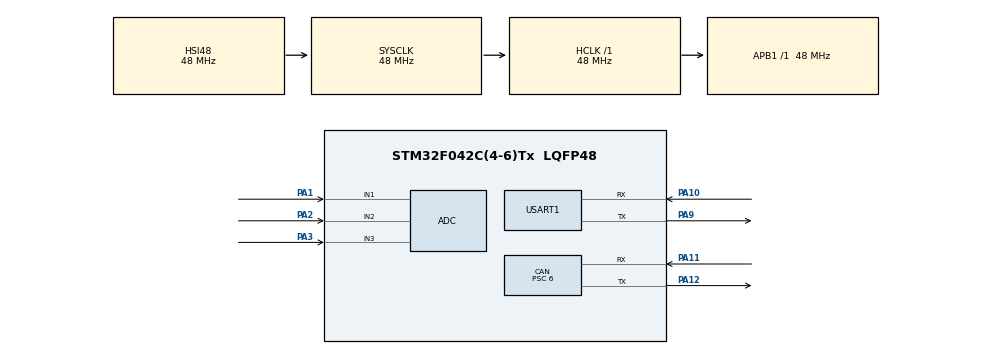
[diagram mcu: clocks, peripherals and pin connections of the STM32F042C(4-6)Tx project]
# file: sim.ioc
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ADC.ContinuousConvMode=ENABLE
ADC.DMAContinuousRequests=DISABLE
CAN.BS1=CAN_BS1_13TQ
CAN.BS2=CAN_BS2_2TQ
CAN.CalculateBaudRate=500000
CAN.CalculateTimeBit=2000.00
CAN.CalculateTimeQuantum=125.0
CAN.NART=DISABLE
CAN.Prescaler=6
Mcu.Family=STM32F0
Mcu.Name=STM32F042C(4-6)Tx
Mcu.Package=LQFP48
PA1.Mode=IN1
PA1.Signal=ADC_IN1
PA10.Mode=Asynchronous
PA10.Signal=USART1_RX
PA11.Mode=CAN_Activate
PA11.Signal=CAN_RX
PA12.Mode=CAN_Activate
PA12.Signal=CAN_TX
PA2.Mode=IN2
PA2.Signal=ADC_IN2
PA3.Mode=IN3
PA3.Signal=ADC_IN3
PA9.Mode=Asynchronous
PA9.Signal=USART1_TX
ProjectManager.HeapSize=0x200
ProjectManager.StackSize=0x400
ProjectManager.TargetToolchain=STM32CubeIDE
RCC.AHBFreq_Value=48000000
RCC.APB1Freq_Value=48000000
RCC.APB1TimFreq_Value=48000000
RCC.HCLKFreq_Value=48000000
RCC.SYSCLKFreq_VALUE=48000000
RCC.SYSCLKSource=RCC_SYSCLKSOURCE_HSI48
USART1.VirtualMode-Asynchronous=VM_ASYNC
board=custom

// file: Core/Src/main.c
/* USER CODE BEGIN Header */
/**
  ******************************************************************************
  * @file           : main.c
  * @brief          : Main program body
  ******************************************************************************
  * @attention
  *
  * <h2><center>&copy; Copyright (c) 2021 STMicroelectronics.
  * All rights reserved.</center></h2>
  *
  * This software component is licensed by ST under BSD 3-Clause license,
  * the "License"; You may not use this file except in compliance with the
  * License. You may obtain a copy of the License at:
  *                        opensource.org/licenses/BSD-3-Clause
  *
  ******************************************************************************
  */
/* USER CODE END Header */
#include "main.h"
#include "adc.h"
#include "can.h"
#include "usart.h"
#include "gpio.h"

/* USER CODE BEGIN Includes */
#include <string.h>
#include <stdio.h>
#include <stdbool.h>
#include <math.h>
/* USER CODE END Includes */

void SystemClock_Config(void);

/* USER CODE BEGIN 0 */
#define Suspension_ADC ADC_CHANNEL_1
#define GearBox_ADC ADC_CHANNEL_2
<<<<<<< HEAD
#define Radiator_ADC  ADC_CHANNEL_3
=======
#define Radiator_ADC ADC_CHANNEL_3
>>>>>>> samir-dev
#define TEM30C ((uint16_t*) ((uint32_t) 0x1FFFF7B8))
#define TEMP110C ((uint16_t*) ((uint32_t) 0x1FFFF7C2))

void config_ext_channel_ADC(uint16_t channel, bool val)
{
  ADC_ChannelConfTypeDef sConfig;
  sConfig.Channel = channel;
  sConfig.SamplingTime = ADC_SAMPLETIME_71CYCLES_5;

  if(true == val)
  {
    sConfig.Rank = ADC_RANK_CHANNEL_NUMBER;
  }
  else
  {
    sConfig.Rank = ADC_RANK_NONE;
  }

  HAL_ADC_ConfigChannel(&hadc, &sConfig);
}

uint16_t r_single_ext_channel_ADC(uint16_t channel)
{
  uint16_t digital_result;
  config_ext_channel_ADC(channel, true);
  HAL_ADCEx_Calibration_Start(&hadc);

  HAL_ADC_Start(&hadc);
  HAL_ADC_PollForConversion(&hadc, 1000);
  digital_result = HAL_ADC_GetValue(&hadc);
  HAL_ADC_Stop(&hadc);

  config_ext_channel_ADC(channel, false);

  return digital_result;
}

uint16_t GET_Suspension(){
	uint16_t suspension_raw = r_single_ext_channel_ADC(Suspension_ADC);
	return suspension_raw;
}

uint16_t GET_Gearbox(){
	uint16_t Gearbox_raw = r_single_ext_channel_ADC(GearBox_ADC);
	return Gearbox_raw;
}

float temprature(uint32_t ts_data){
	float temp;
	float slope = ((110.0 - 30.0)/((*TEMP110C) - (*TEM30C)));
	//temp = ((3.3/3.3) * ts_data) / 1000;
	temp = (slope * (ts_data - (*TEM30C))) + 30;
	return temp;
}

void CAN1_Tx(void)
{
	char msg[50];

//	{
//		Error_handler();
//	}

	sprintf(msg, "Message Transmitted\r\n");
	HAL_UART_Transmit(&huart1, (uint8_t*)msg, strlen(msg), HAL_MAX_DELAY);

}

void Configure_CAN(CAN_HandleTypeDef *canHandle) {
	CAN_FilterTypeDef sFilterConfig;

	// only want to accept messages from the AMS

	/* Configure the CAN Filter */
	sFilterConfig.FilterBank = 0;
	sFilterConfig.FilterMode = CAN_FILTERMODE_IDMASK;
	sFilterConfig.FilterScale = CAN_FILTERSCALE_32BIT;

	// what bits of the CAN ID do we care about
//	sFilterConfig.FilterMaskIdHigh = (CAN_MASK_SRC_ID & 0xFFFF) >> (16);
//	sFilterConfig.FilterMaskIdLow = (CAN_MASK_SRC_ID & 0xFFFF);
//
//	// what values do we want
//	sFilterConfig.FilterIdHigh = (CAN_SRC_ID_AMS & 0xFFFF) >> (16);
//	sFilterConfig.FilterIdLow = (CAN_SRC_ID_AMS & 0xFFFF);

	sFilterConfig.FilterFIFOAssignment = CAN_RX_FIFO0;
	sFilterConfig.FilterActivation = ENABLE;
	sFilterConfig.SlaveStartFilterBank = 14;

	// add filter for incoming messages
	if (HAL_CAN_ConfigFilter(&hcan, &sFilterConfig) != HAL_OK) {
		Error_Handler();
	}

	// start peripheral
	if (HAL_CAN_Start(&hcan) != HAL_OK) {
		Error_Handler();
	}

	// activate rx notification
	if (HAL_CAN_ActivateNotification(&hcan, CAN_IT_RX_FIFO0_MSG_PENDING) != HAL_OK) {
		Error_Handler();
	}
}
/* USER CODE END 0 */

int main(void)
{

  /* MCU Configuration--------------------------------------------------------*/

  /* Reset of all peripherals, Initializes the Flash interface and the Systick. */
  HAL_Init();

  /* Configure the system clock */
  SystemClock_Config();

  /* Initialize all configured peripherals */
  MX_GPIO_Init();
  MX_USART1_UART_Init();
  MX_ADC_Init();
  MX_CAN_Init();

  /* Infinite loop */
  /* USER CODE BEGIN WHILE */
  Configure_CAN(&hcan);
  //HAL_StatusTypeDef result =HAL_CAN_Start(&hcan);

  char msg[100];
  uint16_t raw = 0;
  uint16_t max_suspension = 4055;//taken data form the suspension
  uint16_t min_suspension = 2330;

  	CAN_TxHeaderTypeDef TxHeader;
	uint32_t TxMailbox;
	uint8_t our_messasge[6] = {'H', 'E', 'L', 'L', 'O', '\n'};
	TxHeader.DLC = 6;
	TxHeader.StdId = 0x65D;
	TxHeader.IDE = CAN_ID_STD;
	TxHeader.RTR = CAN_RTR_DATA;
  while (1)
  {
    /* USER CODE END WHILE */

    /* USER CODE BEGIN 3 */

	//
		HAL_CAN_AddTxMessage(&hcan,&TxHeader, our_messasge, &TxMailbox);
	  //CAN1_Tx();

	  raw = r_single_ext_channel_ADC(Suspension_ADC);
	  uint16_t raw_percent =(float)(raw-min_suspension)/(max_suspension-min_suspension) * 100;
	  sprintf(msg, "suspension: %d          percent: %d\r\n", raw, raw_percent);
	  		  HAL_UART_Transmit(&huart1, (uint8_t*) msg, strlen((char*) msg),
	  		  				HAL_MAX_DELAY);
	  HAL_Delay(500);

	  raw = r_single_ext_channel_ADC(GearBox_ADC);
	  uint16_t temperature_c = temprature(raw);
	  sprintf(msg, "gear box: %d          C: %d\r\n", raw, temperature_c);
		  		  HAL_UART_Transmit(&huart1,  (uint8_t*) msg, strlen((char*) msg),
		  		  				HAL_MAX_DELAY);
	 HAL_Delay(500);

	 raw = r_single_ext_channel_ADC(Radiator_ADC);
<<<<<<< HEAD
	 	   temperature_c = temprature(raw);
=======
	 	  temperature_c = temprature(raw);
>>>>>>> samir-dev
	 	  sprintf(msg, "gear box: %d          C: %d\r\n", raw, temperature_c);
	 		  		  HAL_UART_Transmit(&huart1,  (uint8_t*) msg, strlen((char*) msg),
	 		  		  				HAL_MAX_DELAY);
	 	 HAL_Delay(500);

  }
  /* USER CODE END 3 */
}

void SystemClock_Config(void)
{
  RCC_OscInitTypeDef RCC_OscInitStruct = {0};
  RCC_ClkInitTypeDef RCC_ClkInitStruct = {0};
  RCC_PeriphCLKInitTypeDef PeriphClkInit = {0};

  /** Initializes the RCC Oscillators according to the specified parameters
  * in the RCC_OscInitTypeDef structure.
  */
  RCC_OscInitStruct.OscillatorType = RCC_OSCILLATORTYPE_HSI14|RCC_OSCILLATORTYPE_HSI48;
  RCC_OscInitStruct.HSI48State = RCC_HSI48_ON;
  RCC_OscInitStruct.HSI14State = RCC_HSI14_ON;
  RCC_OscInitStruct.HSI14CalibrationValue = 16;
  RCC_OscInitStruct.PLL.PLLState = RCC_PLL_NONE;
  if (HAL_RCC_OscConfig(&RCC_OscInitStruct) != HAL_OK)
  {
    Error_Handler();
  }
  /** Initializes the CPU, AHB and APB buses clocks
  */
  RCC_ClkInitStruct.ClockType = RCC_CLOCKTYPE_HCLK|RCC_CLOCKTYPE_SYSCLK
                              |RCC_CLOCKTYPE_PCLK1;
  RCC_ClkInitStruct.SYSCLKSource = RCC_SYSCLKSOURCE_HSI48;
  RCC_ClkInitStruct.AHBCLKDivider = RCC_SYSCLK_DIV1;
  RCC_ClkInitStruct.APB1CLKDivider = RCC_HCLK_DIV1;

  if (HAL_RCC_ClockConfig(&RCC_ClkInitStruct, FLASH_LATENCY_1) != HAL_OK)
  {
    Error_Handler();
  }
  PeriphClkInit.PeriphClockSelection = RCC_PERIPHCLK_USART1;
  PeriphClkInit.Usart1ClockSelection = RCC_USART1CLKSOURCE_PCLK1;
  if (HAL_RCCEx_PeriphCLKConfig(&PeriphClkInit) != HAL_OK)
  {
    Error_Handler();
  }
}

void Error_Handler(void)
{
  __disable_irq();
  while (1)
  {
  }
}

/************************ (C) COPYRIGHT STMicroelectronics *****END OF FILE****/
